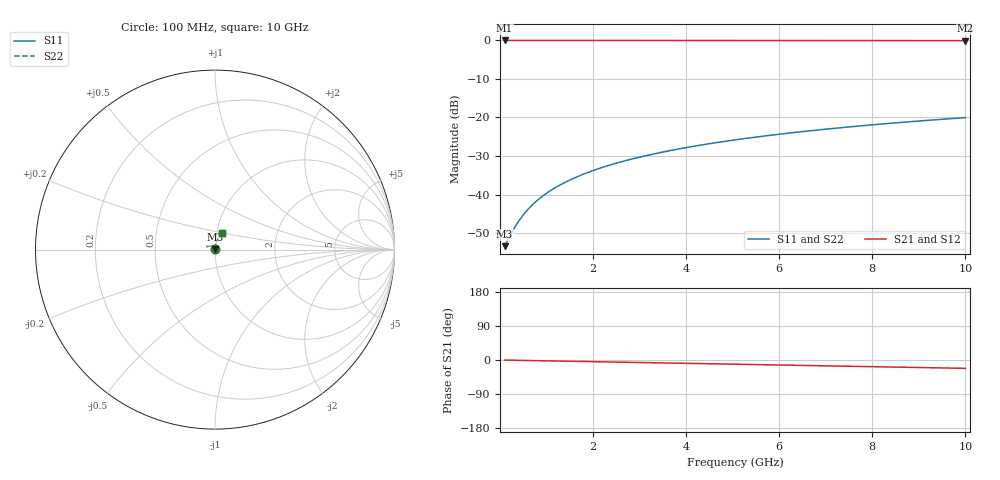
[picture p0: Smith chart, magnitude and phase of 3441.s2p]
# Hz S RI R 50.00
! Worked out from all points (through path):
!   100 points, 100 MHz to 10 GHz, reference 50 ohm
!   highest |S21| = -0.02 dB at 100 MHz (marker M1); lowest = -0.1 dB at 10 GHz (marker M2)
!   group delay of S21, straight-line fit = 6.12 ps
!   lowest |S11| = -53.4 dB at 100 MHz (marker M3), VSWR 1.00, Z = 50.2 + j0.102 ohm
!   |S11| at or under -10 dB: start of sweep to end of sweep
!   |S22| runs from -53.4 to -20.0 dB; largest |S21 - S12| = 0
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1e8  0.00188 0.00101  0.9981 -0.00383  0.9981 -0.00383  0.00188 0.00101
3e8  0.00193 0.00303  0.998 -0.0115  0.998 -0.0115  0.00193 0.00303
4e8  0.00196 0.00405  0.998 -0.0153  0.998 -0.0153  0.00196 0.00405
5e8  0.002 0.00506  0.9979 -0.0191  0.9979 -0.0191  0.002 0.00506
6e8  0.00205 0.00607  0.9978 -0.023  0.9978 -0.023  0.00205 0.00607
7e8  0.00211 0.00708  0.9977 -0.0268  0.9977 -0.0268  0.00211 0.00708
8e8  0.00217 0.00809  0.9976 -0.0306  0.9976 -0.0306  0.00217 0.00809
9e8  0.00224 0.0091  0.9974 -0.0345  0.9974 -0.0345  0.00224 0.0091
1e9  0.00231 0.0101  0.9973 -0.0383  0.9973 -0.0383  0.00231 0.0101
1.2e9  0.00249 0.0121  0.9969 -0.0459  0.9969 -0.0459  0.00249 0.0121
1.5e9  0.00281 0.0151  0.9963 -0.0574  0.9963 -0.0574  0.00281 0.0151
1.8e9  0.0032 0.0181  0.9955 -0.0689  0.9955 -0.0689  0.0032 0.0181
2.1e9  0.00366 0.0211  0.9945 -0.0803  0.9945 -0.0803  0.00366 0.0211
2.5e9  0.00438 0.0251  0.9931 -0.0956  0.9931 -0.0956  0.00438 0.0251
2.9e9  0.00521 0.0291  0.9914 -0.1108  0.9914 -0.1108  0.00521 0.0291
3.4e9  0.00643 0.034  0.9889 -0.1298  0.9889 -0.1298  0.00643 0.034
4.2e9  0.00877 0.0417  0.9841 -0.1601  0.9841 -0.1601  0.00877 0.0417
5.1e9  0.012 0.0502  0.9775 -0.1939  0.9775 -0.1939  0.012 0.0502
5.9e9  0.0153 0.0576  0.9706 -0.2238  0.9706 -0.2238  0.0153 0.0576
6.7e9  0.0191 0.0647  0.9628 -0.2534  0.9628 -0.2534  0.0191 0.0647
8.4e9  0.0285 0.0791  0.9429 -0.3154  0.9429 -0.3154  0.0285 0.0791
1e10  0.0391 0.0914  0.9203 -0.3724  0.9203 -0.3724  0.0391 0.0914
